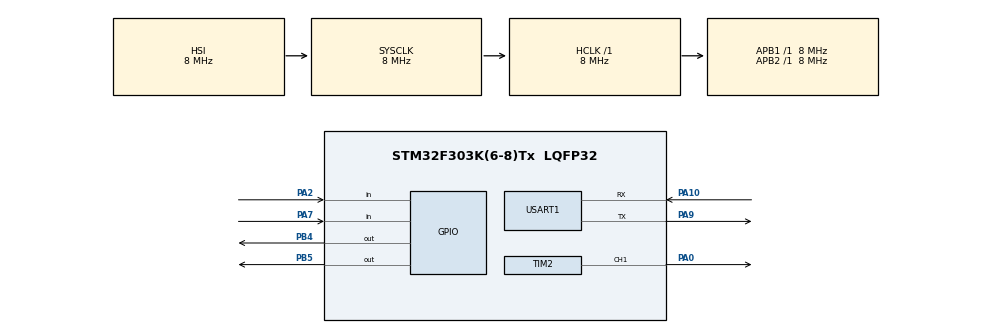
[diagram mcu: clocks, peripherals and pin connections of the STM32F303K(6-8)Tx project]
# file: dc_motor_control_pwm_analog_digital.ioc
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Mcu.Family=STM32F3
Mcu.Name=STM32F303K(6-8)Tx
Mcu.Package=LQFP32
NVIC.PriorityGroup=NVIC_PRIORITYGROUP_4
NVIC.USART1_IRQn=true\:0\:0\:false\:false\:true\:true\:true
PA0.Signal=S_TIM2_CH1_ETR
PA10.Mode=Asynchronous
PA10.Signal=USART1_RX
PA2.Signal=GPIO_Input
PA7.Signal=GPIO_Input
PA9.Mode=Asynchronous
PA9.Signal=USART1_TX
PB4.Signal=GPIO_Output
PB5.Signal=GPIO_Output
ProjectManager.HeapSize=0x200
ProjectManager.StackSize=0x400
ProjectManager.TargetToolchain=STM32CubeIDE
RCC.AHBFreq_Value=8000000
RCC.APB1Freq_Value=8000000
RCC.APB2Freq_Value=8000000
RCC.CortexFreq_Value=8000000
RCC.HSE_VALUE=8000000
RCC.HSI_VALUE=8000000
RCC.PLLMUL=RCC_PLL_MUL4
RCC.SYSCLKFreq_VALUE=8000000
SH.S_TIM2_CH1_ETR.0=TIM2_CH1,PWM Generation1 CH1
TIM2.Channel-PWM\ Generation1\ CH1=TIM_CHANNEL_1
TIM2.Period=99
TIM2.Pulse-PWM\ Generation1\ CH1=90
USART1.VirtualMode-Asynchronous=VM_ASYNC
VP_TIM2_VS_ClockSourceINT.Mode=Internal
board=custom

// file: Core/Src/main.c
/* USER CODE BEGIN Header */
/* USER CODE END Header */
#include "main.h"

/* USER CODE BEGIN PD */
char rData;
char receiveBuffer[8];
uint16_t pulseWidth = 90;
uint8_t pos = 0;
/* USER CODE END PD */

TIM_HandleTypeDef htim2;

UART_HandleTypeDef huart1;

void SystemClock_Config(void);
static void MX_GPIO_Init(void);
static void MX_TIM2_Init(void);
static void MX_USART1_UART_Init(void);
/* USER CODE BEGIN PFP */
uint16_t map(uint16_t, uint16_t, uint16_t, uint16_t, uint16_t);
/* USER CODE END PFP */

/* USER CODE BEGIN 0 */
void HAL_UART_RxCpltCallback(UART_HandleTypeDef *huart);
/* USER CODE END 0 */

int main(void)
{

  /* MCU Configuration--------------------------------------------------------*/

  /* Reset of all peripherals, Initializes the Flash interface and the Systick. */
  HAL_Init();

  /* Configure the system clock */
  SystemClock_Config();

  /* Initialize all configured peripherals */
  MX_GPIO_Init();
  MX_TIM2_Init();
  MX_USART1_UART_Init();
  /* USER CODE BEGIN 2 */
  //HAL_UART_Transmit_IT(&huart1, "deneme_verisi", sizeof("deneme_verisi"));
  HAL_UART_Receive_IT(&huart1, &rData, 1);
  HAL_TIM_PWM_Start(&htim2, TIM_CHANNEL_1);

  HAL_GPIO_WritePin(GPIOB, GPIO_PIN_4, GPIO_PIN_RESET);
  HAL_GPIO_WritePin(GPIOB, GPIO_PIN_5, GPIO_PIN_RESET);
  /* USER CODE END 2 */

  /* Infinite loop */
  /* USER CODE BEGIN WHILE */
  while(1)
  {
	  if ((HAL_GPIO_ReadPin (GPIOA, GPIO_PIN_2) == 1) || (HAL_GPIO_ReadPin (GPIOA, GPIO_PIN_7) == 1) )
	  {
		  pulseWidth = 0;
		  __HAL_TIM_SET_COMPARE(&htim2, TIM_CHANNEL_1, pulseWidth);
	  }
	  else
	  {
		  pulseWidth = 90;
		  __HAL_TIM_SET_COMPARE(&htim2, TIM_CHANNEL_1, pulseWidth);
	  }
  }
    /* USER CODE END WHILE */

}

void SystemClock_Config(void)
{
  RCC_OscInitTypeDef RCC_OscInitStruct = {0};
  RCC_ClkInitTypeDef RCC_ClkInitStruct = {0};
  RCC_PeriphCLKInitTypeDef PeriphClkInit = {0};

  /** Initializes the RCC Oscillators according to the specified parameters
  * in the RCC_OscInitTypeDef structure.
  */
  RCC_OscInitStruct.OscillatorType = RCC_OSCILLATORTYPE_HSI;
  RCC_OscInitStruct.HSIState = RCC_HSI_ON;
  RCC_OscInitStruct.HSICalibrationValue = RCC_HSICALIBRATION_DEFAULT;
  RCC_OscInitStruct.PLL.PLLState = RCC_PLL_NONE;
  if (HAL_RCC_OscConfig(&RCC_OscInitStruct) != HAL_OK)
  {
    Error_Handler();
  }
  /** Initializes the CPU, AHB and APB buses clocks
  */
  RCC_ClkInitStruct.ClockType = RCC_CLOCKTYPE_HCLK|RCC_CLOCKTYPE_SYSCLK
                              |RCC_CLOCKTYPE_PCLK1|RCC_CLOCKTYPE_PCLK2;
  RCC_ClkInitStruct.SYSCLKSource = RCC_SYSCLKSOURCE_HSI;
  RCC_ClkInitStruct.AHBCLKDivider = RCC_SYSCLK_DIV1;
  RCC_ClkInitStruct.APB1CLKDivider = RCC_HCLK_DIV1;
  RCC_ClkInitStruct.APB2CLKDivider = RCC_HCLK_DIV1;

  if (HAL_RCC_ClockConfig(&RCC_ClkInitStruct, FLASH_LATENCY_0) != HAL_OK)
  {
    Error_Handler();
  }
  PeriphClkInit.PeriphClockSelection = RCC_PERIPHCLK_USART1;
  PeriphClkInit.Usart1ClockSelection = RCC_USART1CLKSOURCE_PCLK1;
  if (HAL_RCCEx_PeriphCLKConfig(&PeriphClkInit) != HAL_OK)
  {
    Error_Handler();
  }
}

static void MX_TIM2_Init(void)
{

  TIM_ClockConfigTypeDef sClockSourceConfig = {0};
  TIM_MasterConfigTypeDef sMasterConfig = {0};
  TIM_OC_InitTypeDef sConfigOC = {0};

  htim2.Instance = TIM2;
  htim2.Init.Prescaler = 0;
  htim2.Init.CounterMode = TIM_COUNTERMODE_UP;
  htim2.Init.Period = 99;
  htim2.Init.ClockDivision = TIM_CLOCKDIVISION_DIV1;
  htim2.Init.AutoReloadPreload = TIM_AUTORELOAD_PRELOAD_DISABLE;
  if (HAL_TIM_Base_Init(&htim2) != HAL_OK)
  {
    Error_Handler();
  }
  sClockSourceConfig.ClockSource = TIM_CLOCKSOURCE_INTERNAL;
  if (HAL_TIM_ConfigClockSource(&htim2, &sClockSourceConfig) != HAL_OK)
  {
    Error_Handler();
  }
  if (HAL_TIM_PWM_Init(&htim2) != HAL_OK)
  {
    Error_Handler();
  }
  sMasterConfig.MasterOutputTrigger = TIM_TRGO_RESET;
  sMasterConfig.MasterSlaveMode = TIM_MASTERSLAVEMODE_DISABLE;
  if (HAL_TIMEx_MasterConfigSynchronization(&htim2, &sMasterConfig) != HAL_OK)
  {
    Error_Handler();
  }
  sConfigOC.OCMode = TIM_OCMODE_PWM1;
  sConfigOC.Pulse = 90;
  sConfigOC.OCPolarity = TIM_OCPOLARITY_HIGH;
  sConfigOC.OCFastMode = TIM_OCFAST_DISABLE;
  if (HAL_TIM_PWM_ConfigChannel(&htim2, &sConfigOC, TIM_CHANNEL_1) != HAL_OK)
  {
    Error_Handler();
  }
  HAL_TIM_MspPostInit(&htim2);

}

static void MX_USART1_UART_Init(void)
{

  huart1.Instance = USART1;
  huart1.Init.BaudRate = 38400;
  huart1.Init.WordLength = UART_WORDLENGTH_8B;
  huart1.Init.StopBits = UART_STOPBITS_1;
  huart1.Init.Parity = UART_PARITY_NONE;
  huart1.Init.Mode = UART_MODE_TX_RX;
  huart1.Init.HwFlowCtl = UART_HWCONTROL_NONE;
  huart1.Init.OverSampling = UART_OVERSAMPLING_16;
  huart1.Init.OneBitSampling = UART_ONE_BIT_SAMPLE_DISABLE;
  huart1.AdvancedInit.AdvFeatureInit = UART_ADVFEATURE_NO_INIT;
  if (HAL_UART_Init(&huart1) != HAL_OK)
  {
    Error_Handler();
  }

}

static void MX_GPIO_Init(void)
{
  GPIO_InitTypeDef GPIO_InitStruct = {0};

  /* GPIO Ports Clock Enable */
  __HAL_RCC_GPIOA_CLK_ENABLE();
  __HAL_RCC_GPIOB_CLK_ENABLE();

  /*Configure GPIO pin Output Level */
  HAL_GPIO_WritePin(GPIOB, GPIO_PIN_4|GPIO_PIN_5, GPIO_PIN_RESET);

  /*Configure GPIO pins : PA2 PA7 */
  GPIO_InitStruct.Pin = GPIO_PIN_2|GPIO_PIN_7;
  GPIO_InitStruct.Mode = GPIO_MODE_INPUT;
  GPIO_InitStruct.Pull = GPIO_NOPULL;
  HAL_GPIO_Init(GPIOA, &GPIO_InitStruct);

  /*Configure GPIO pins : PB4 PB5 */
  GPIO_InitStruct.Pin = GPIO_PIN_4|GPIO_PIN_5;
  GPIO_InitStruct.Mode = GPIO_MODE_OUTPUT_PP;
  GPIO_InitStruct.Pull = GPIO_NOPULL;
  GPIO_InitStruct.Speed = GPIO_SPEED_FREQ_LOW;
  HAL_GPIO_Init(GPIOB, &GPIO_InitStruct);

}

/* USER CODE BEGIN 4 */
void HAL_UART_RxCpltCallback(UART_HandleTypeDef *huart)
{
    if (huart -> Instance == USART1)
    {
        HAL_UART_Receive_IT(&huart1, &rData, 1);
        receiveBuffer[pos++] = rData;

        if (rData == '\n')
                {
                        pos = 0;

                        if (strstr(receiveBuffer, "OP"))
                        {
                        	__HAL_TIM_SET_COMPARE(&htim2, TIM_CHANNEL_1, pulseWidth);
                            HAL_GPIO_WritePin(GPIOB, GPIO_PIN_5, GPIO_PIN_RESET);
                            HAL_GPIO_WritePin(GPIOB, GPIO_PIN_4, GPIO_PIN_SET);
                            pulseWidth = 90;
                        }
                        else if (strstr(receiveBuffer, "CL"))
                        {
                        	__HAL_TIM_SET_COMPARE(&htim2, TIM_CHANNEL_1, pulseWidth);
                            HAL_GPIO_WritePin(GPIOB, GPIO_PIN_5, GPIO_PIN_SET);
                            HAL_GPIO_WritePin(GPIOB, GPIO_PIN_4, GPIO_PIN_RESET);
                            pulseWidth = 90;
                        }

                        memset(receiveBuffer, 0, 8);

                }
    }
}
/* USER CODE END 4 */

void Error_Handler(void)
{
}

/************************ (C) COPYRIGHT STMicroelectronics *****END OF FILE****/
